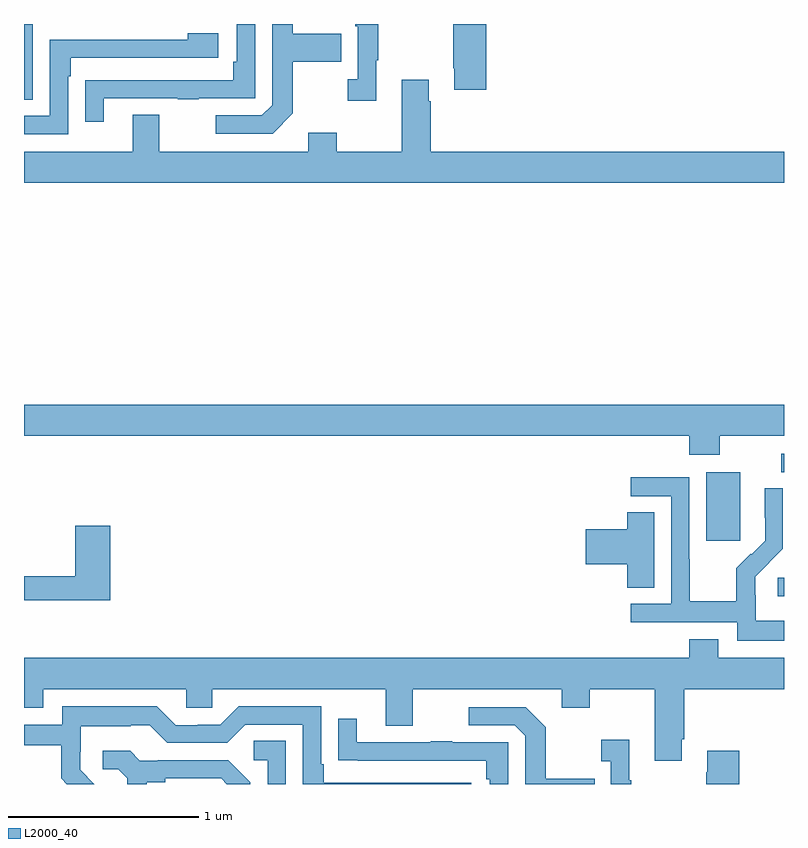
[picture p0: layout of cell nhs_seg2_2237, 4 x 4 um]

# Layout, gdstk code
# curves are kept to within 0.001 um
import gdstk
lib = gdstk.Library(unit=1e-6, precision=1e-09)
def R(c, l, rs):  # rectangles x0, y0, x1, y1
    for r in rs: c.add(gdstk.rectangle(r[:2], r[2:], *l))
def P(c, l, *ps):  # polygons
    for p in ps: c.add(gdstk.Polygon(p, *l))
L2000_40 = (2000, 40)

nhs_seg2_2237 = lib.new_cell('nhs_seg2_2237')
R(nhs_seg2_2237, L2000_40, [(230.967,650.789,231,650.886), (230.591,651.081,230.77,651.442), (230.985,651.441,231,651.537), (227,653.401,227.046,653.8)])
P(nhs_seg2_2237, L2000_40, [(229.433,653.8),(229.258,653.8),(229.258,653.566),(229.265,653.566),(229.265,653.454),(229.433,653.454)],
  [(228.415,653.329),(228.415,653.602),(228.671,653.602),(228.671,653.749),(228.415,653.749),(228.415,653.8),(228.306,653.8),(228.306,653.373),(228.252,653.319),(228.009,653.319),(228.009,653.223),(228.309,653.223)],
  [(228.853,653.609),(228.865,653.609),(228.865,653.8),(228.744,653.8),(228.744,653.789),(228.756,653.789),(228.756,653.51),(228.705,653.51),(228.705,653.397),(228.853,653.397)],
  [(227.419,653.409),(227.809,653.409),(227.809,653.404),(227.921,653.404),(227.921,653.409),(228.216,653.409),(228.216,653.8),(228.12,653.8),(228.12,653.602),(228.1,653.602),(228.1,653.505),(227.425,653.505),(227.425,653.504),(227.323,653.504),(227.323,653.286),(227.419,653.286)],
  [(227.232,653.525),(227.245,653.525),(227.245,653.622),(228.022,653.622),(228.022,653.752),(227.861,653.752),(227.861,653.718),(227.136,653.718),(227.136,653.316),(227,653.316),(227,653.22),(227.232,653.22)],
  [(231,653.128),(229.142,653.128),(229.142,653.393),(229.129,653.393),(229.129,653.506),(228.989,653.506),(228.989,653.128),(228.645,653.128),(228.645,653.227),(228.497,653.227),(228.497,653.128),(227.713,653.128),(227.713,653.323),(227.573,653.323),(227.573,653.128),(227,653.128),(227,652.964),(231,652.964)],
  [(230.661,651.632),(231,651.632),(231,651.796),(227,651.796),(227,651.632),(230.501,651.632),(230.501,651.533),(230.661,651.533)],
  [(231,650.659),(230.85,650.659),(230.85,650.793),(230.848,650.793),(230.848,650.89),(230.994,651.038),(230.994,651.356),(230.898,651.356),(230.898,651.202),(230.9,651.202),(230.9,651.08),(230.829,651.009),(230.826,651.012),(230.749,650.935),(230.749,650.761),(230.505,650.761),(230.505,650.984),(230.502,650.984),(230.502,651.414),(230.193,651.414),(230.193,651.315),(230.406,651.315),(230.406,650.748),(230.193,650.748),(230.193,650.652),(230.754,650.652),(230.754,650.555),(231,650.555)],
  [(230.317,651.23),(230.174,651.23),(230.174,651.14),(229.956,651.14),(229.956,650.957),(230.174,650.957),(230.174,650.833),(230.317,650.833)],
  [(227.453,651.16),(227.27,651.16),(227.27,650.894),(227,650.894),(227,650.766),(227.453,650.766)],
  [(230.461,650.035),(230.474,650.035),(230.474,650.3),(231,650.3),(231,650.464),(230.653,650.464),(230.653,650.563),(230.501,650.563),(230.501,650.464),(227,650.464),(227,650.201),(227.101,650.201),(227.101,650.3),(227.853,650.3),(227.853,650.202),(227.991,650.202),(227.991,650.3),(228.905,650.3),(228.905,650.106),(229.045,650.106),(229.045,650.3),(229.829,650.3),(229.829,650.201),(229.977,650.201),(229.977,650.3),(230.321,650.3),(230.321,649.923),(230.461,649.923)],
  [(227.296,649.874),(227.296,649.971),(227.298,649.971),(227.298,650.105),(227.561,650.105),(227.561,650.109),(227.661,650.109),(227.754,650.016),(228.069,650.016),(228.165,650.112),(228.468,650.112),(228.468,649.8),(229.354,649.8),(229.354,649.806),(228.577,649.806),(228.577,649.903),(228.564,649.903),(228.564,650.208),(228.129,650.208),(228.033,650.112),(227.915,650.112),(227.915,650.109),(227.799,650.109),(227.699,650.209),(227.202,650.209),(227.202,650.112),(227,650.112),(227,650.004),(227.197,650.004),(227.197,649.829),(227.226,649.8),(227.37,649.8)],
  [(230.003,649.827),(229.747,649.827),(229.747,650.099),(229.641,650.205),(229.341,650.205),(229.341,650.109),(229.584,650.109),(229.638,650.055),(229.638,649.8),(230.003,649.8)],
  [(229.548,650.019),(229.253,650.019),(229.253,650.024),(229.141,650.024),(229.141,650.019),(228.751,650.019),(228.751,650.143),(228.655,650.143),(228.655,649.924),(228.757,649.924),(228.757,649.923),(229.432,649.923),(229.432,649.826),(229.452,649.826),(229.452,649.8),(229.548,649.8)],
  [(230.197,649.819),(230.185,649.819),(230.185,650.032),(230.037,650.032),(230.037,649.919),(230.088,649.919),(230.088,649.8),(230.197,649.8)],
  [(228.378,650.027),(228.21,650.027),(228.21,649.926),(228.282,649.926),(228.282,649.8),(228.378,649.8)],
  [(227.647,649.808),(227.743,649.808),(227.743,649.83),(228.038,649.83),(228.068,649.8),(228.192,649.8),(228.192,649.81),(228.076,649.926),(227.704,649.926),(227.704,649.923),(227.61,649.923),(227.558,649.975),(227.415,649.975),(227.415,649.878),(227.496,649.878),(227.543,649.831),(227.543,649.8),(227.647,649.8)],
  [(230.765,649.975),(230.597,649.975),(230.597,649.862),(230.59,649.862),(230.59,649.8),(230.765,649.8)])

lib.write_gds('nhs_seg2_2237.gds')
